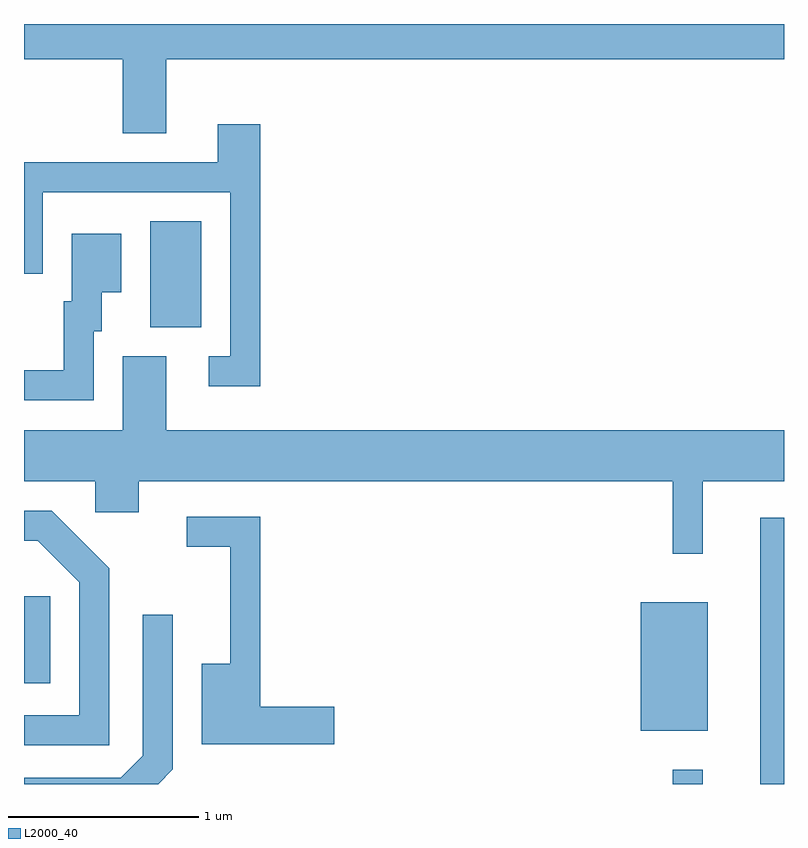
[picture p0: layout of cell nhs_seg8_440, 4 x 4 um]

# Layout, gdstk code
import gdstk
lib = gdstk.Library(unit=1e-6, precision=1e-09)
def R(c, l, rs):  # rectangles x0, y0, x1, y1
    for r in rs: c.add(gdstk.rectangle(r[:2], r[2:], *l))
def P(c, l, *ps):  # polygons
    for p in ps: c.add(gdstk.Polygon(p, *l))
L2000_40 = (2000, 40)

nhs_seg8_440 = lib.new_cell('nhs_seg8_440')
R(nhs_seg8_440, L2000_40, [(201.026,1870.342,201.184,1870.418), (201.486,1870.342,201.611,1871.743), (200.856,1870.621,201.209,1871.299), (197.611,1870.871,197.749,1871.329), (198.276,1872.746,198.544,1873.304)])
P(nhs_seg8_440, L2000_40, [(198.359,1874.156),(201.611,1874.156),(201.611,1874.342),(197.611,1874.342),(197.611,1874.156),(198.131,1874.156),(198.131,1873.766),(198.359,1873.766)],
  [(198.854,1873.814),(198.631,1873.814),(198.631,1873.614),(197.611,1873.614),(197.611,1873.028),(197.709,1873.028),(197.709,1873.456),(198.696,1873.456),(198.696,1872.594),(198.583,1872.594),(198.583,1872.436),(198.854,1872.436)],
  [(197.979,1872.726),(198.019,1872.726),(198.019,1872.931),(198.124,1872.931),(198.124,1873.239),(197.861,1873.239),(197.861,1872.884),(197.821,1872.884),(197.821,1872.519),(197.611,1872.519),(197.611,1872.361),(197.979,1872.361)],
  [(201.184,1871.936),(201.611,1871.936),(201.611,1872.204),(198.359,1872.204),(198.359,1872.594),(198.131,1872.594),(198.131,1872.204),(197.611,1872.204),(197.611,1871.936),(197.986,1871.936),(197.986,1871.771),(198.214,1871.771),(198.214,1871.936),(201.026,1871.936),(201.026,1871.553),(201.184,1871.553)],
  [(198.059,1871.477),(197.757,1871.779),(197.611,1871.779),(197.611,1871.621),(197.684,1871.621),(197.901,1871.404),(197.901,1870.704),(197.611,1870.704),(197.611,1870.546),(198.059,1870.546)],
  [(199.244,1870.749),(198.854,1870.749),(198.854,1871.749),(198.468,1871.749),(198.468,1871.591),(198.696,1871.591),(198.696,1870.974),(198.546,1870.974),(198.546,1870.551),(199.244,1870.551)],
  [(198.394,1870.419),(198.394,1871.233),(198.236,1871.233),(198.236,1870.492),(198.119,1870.374),(197.611,1870.374),(197.611,1870.342),(198.317,1870.342)])

lib.write_gds('nhs_seg8_440.gds')
